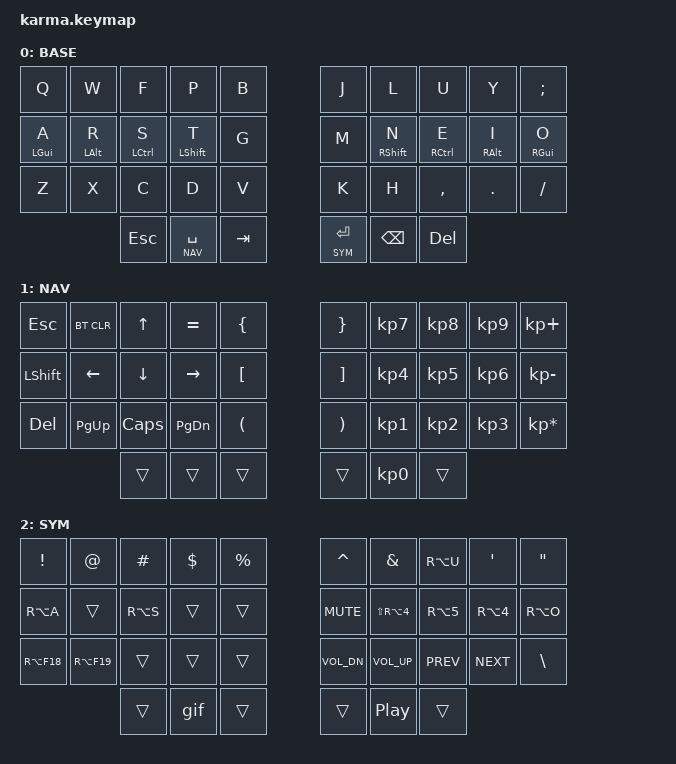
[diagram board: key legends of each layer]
#include <behaviors.dtsi>
#include <dt-bindings/zmk/keys.h>
#include <dt-bindings/zmk/bt.h>
#include <dt-bindings/zmk/outputs.h>

#define BASE 0
#define NAV  1
#define SYM  2

&mt {
  quick-tap-ms = <150>;
  global-quick-tap;
  flavor = "tap-preferred";
  tapping-term-ms = <170>;
};

/ {

        keymap {
                compatible = "zmk,keymap";
                base_layer {
                    label= "BASE";
                    bindings = <
                &kp Q       &kp W       &kp F       &kp P         &kp B           &kp J       &kp L       &kp U       &kp Y       &kp SEMI
                &mt LGUI A  &mt LALT R  &mt LCTRL S &mt LSHFT T   &kp G           &kp M       &mt RSHFT N &mt RCTRL E &mt RALT I  &mt RGUI O
                &kp Z       &kp X       &kp C       &kp D         &kp V           &kp K       &kp H       &kp COMMA   &kp DOT     &kp FSLH
                                        &kp ESC     &lt NAV SPACE &kp TAB         &lt SYM RET &kp BSPC    &kp DEL
                        >;
                };

                nav_layer {
                    label= "NAV";
                    bindings = <

                &kp ESC     &bt BT_CLR  &kp UP      &kp EQUAL   &kp LBRC        &kp RBRC    &kp KP_N7   &kp KP_N8   &kp KP_N9   &kp KP_PLUS
                &kp LSHFT   &kp LEFT    &kp DOWN    &kp RIGHT   &kp LBKT        &kp RBKT    &kp KP_N4   &kp KP_N5   &kp KP_N6   &kp KP_MINUS
                &kp DEL     &kp PG_UP   &kp CAPS    &kp PG_DN   &kp LPAR        &kp RPAR    &kp KP_N1   &kp KP_N2   &kp KP_N3   &kp KP_MULTIPLY      
                                        &trans      &trans      &trans          &trans     &kp KP_N0   &trans      
                        >;
                };

                sim_layer {
                    label= "SYM";
                    bindings = <

                &kp EXCL    &kp AT      &kp HASH    &kp DLLR    &kp PRCNT       &kp CARET   &kp AMPS    &kp RA(U)   &kp SQT     &kp DQT       
                &kp RA(A)   &trans      &kp RA(S)   &trans      &trans          &kp C_MUTE  &kp LS(RA(N4)) &kp RA(N5) &kp RA(N4)   &kp RA(O) 
                &kp RA(F18) &kp RA(F19) &trans      &trans      &trans          &kp C_VOL_DN &kp C_VOL_UP &kp C_PREV &kp C_NEXT  &kp BSLH      
                                        &trans      &gif        &trans         &trans      &kp C_PP    &trans      
                        >;
                };
        };
};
